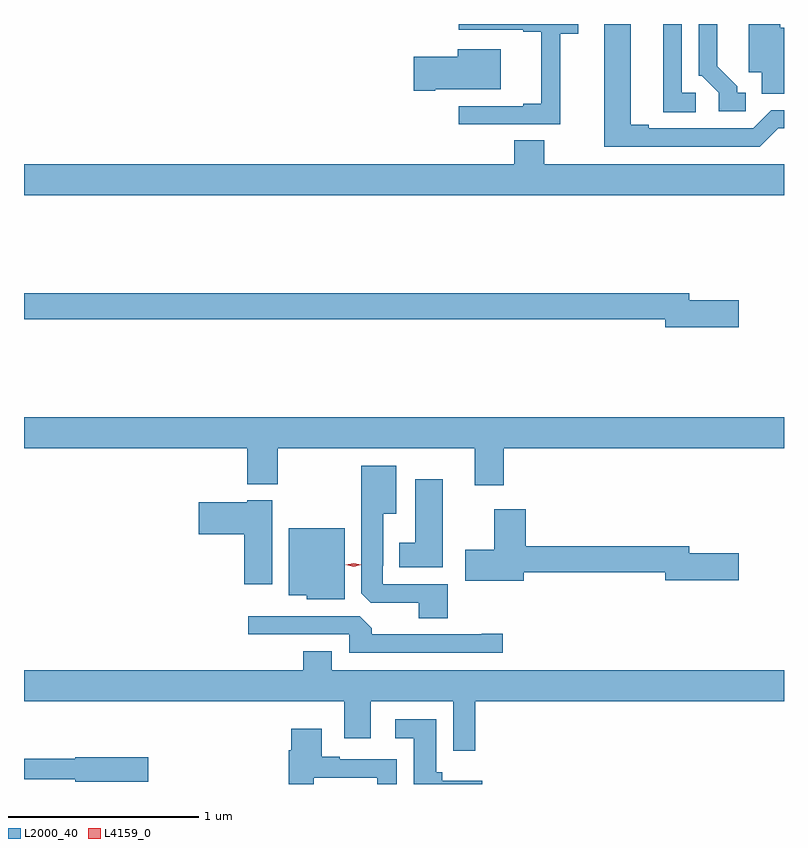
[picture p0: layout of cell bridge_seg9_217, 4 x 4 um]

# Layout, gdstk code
import gdstk
lib = gdstk.Library(unit=1e-6, precision=1e-09)
def P(c, l, *ps):  # polygons
    for p in ps: c.add(gdstk.Polygon(p, *l))
L2000_40 = (2000, 40)
L4159_0 = (4159, 0)

bridge_seg9_217 = lib.new_cell('bridge_seg9_217')
P(bridge_seg9_217, L2000_40, [(194.185,1230.258),(194.14,1230.258),(194.14,1230.293),(194.035,1230.398),(194.035,1230.621),(193.938,1230.621),(193.938,1230.348),(193.953,1230.348),(194.043,1230.258),(194.043,1230.162),(194.185,1230.162)],
  [(194.386,1230.601),(194.365,1230.601),(194.365,1230.621),(194.201,1230.621),(194.201,1230.368),(194.27,1230.368),(194.27,1230.253),(194.386,1230.253)],
  [(193.921,1230.258),(193.848,1230.258),(193.848,1230.621),(193.751,1230.621),(193.751,1230.157),(193.921,1230.157)],
  [(193.209,1230.571),(193.303,1230.571),(193.303,1230.621),(192.675,1230.621),(192.675,1230.591),(193.013,1230.591),(193.013,1230.579),(193.109,1230.579),(193.109,1230.202),(193.013,1230.202),(193.013,1230.189),(192.675,1230.189),(192.675,1230.093),(193.209,1230.093)],
  [(194.355,1230.072),(194.386,1230.072),(194.386,1230.168),(194.319,1230.168),(194.223,1230.072),(193.675,1230.072),(193.675,1230.092),(193.579,1230.092),(193.579,1230.621),(193.439,1230.621),(193.439,1229.976),(194.259,1229.976)],
  [(192.55,1230.278),(192.895,1230.278),(192.895,1230.487),(192.668,1230.487),(192.668,1230.449),(192.438,1230.449),(192.438,1230.271),(192.55,1230.271)],
  [(194.386,1229.884),(193.125,1229.884),(193.125,1230.008),(192.965,1230.008),(192.965,1229.884),(190.386,1229.884),(190.386,1229.72),(194.386,1229.72)],
  [(194.149,1229.168),(193.888,1229.168),(193.888,1229.204),(190.386,1229.204),(190.386,1229.068),(193.76,1229.068),(193.76,1229.026),(194.149,1229.026)],
  [(192.911,1228.388),(194.386,1228.388),(194.386,1228.552),(190.386,1228.552),(190.386,1228.388),(191.561,1228.388),(191.561,1228.199),(191.721,1228.199),(191.721,1228.388),(192.758,1228.388),(192.758,1228.194),(192.911,1228.194)],
  [(192.617,1227.672),(192.273,1227.672),(192.273,1227.769),(192.277,1227.769),(192.277,1228.043),(192.346,1228.043),(192.346,1228.297),(192.161,1228.297),(192.161,1227.625),(192.21,1227.576),(192.464,1227.576),(192.464,1227.493),(192.617,1227.493)],
  [(192.589,1228.225),(192.446,1228.225),(192.446,1227.892),(192.362,1227.892),(192.362,1227.761),(192.589,1227.761)],
  [(191.692,1228.114),(191.562,1228.114),(191.562,1228.105),(191.307,1228.105),(191.307,1227.935),(191.546,1227.935),(191.546,1227.672),(191.692,1227.672)],
  [(193.015,1227.736),(193.76,1227.736),(193.76,1227.694),(194.149,1227.694),(194.149,1227.836),(193.888,1227.836),(193.888,1227.872),(193.028,1227.872),(193.028,1228.066),(192.86,1228.066),(192.86,1227.855),(192.708,1227.855),(192.708,1227.692),(193.015,1227.692)],
  [(192.073,1227.967),(191.78,1227.967),(191.78,1227.614),(191.874,1227.614),(191.874,1227.593),(192.073,1227.593)],
  [(192.907,1227.413),(192.794,1227.413),(192.794,1227.408),(192.215,1227.408),(192.215,1227.442),(192.153,1227.504),(191.565,1227.504),(191.565,1227.408),(192.099,1227.408),(192.099,1227.312),(192.907,1227.312)],
  [(192.761,1227.056),(194.386,1227.056),(194.386,1227.22),(192.007,1227.22),(192.007,1227.319),(191.855,1227.319),(191.855,1227.22),(190.386,1227.22),(190.386,1227.056),(192.071,1227.056),(192.071,1226.862),(192.211,1226.862),(192.211,1227.056),(192.645,1227.056),(192.645,1226.796),(192.761,1226.796)],
  [(192.799,1226.638),(192.587,1226.638),(192.587,1226.682),(192.556,1226.682),(192.556,1226.962),(192.339,1226.962),(192.339,1226.861),(192.437,1226.861),(192.437,1226.621),(192.799,1226.621)],
  [(191.911,1226.655),(192.245,1226.655),(192.245,1226.621),(192.349,1226.621),(192.349,1226.751),(192.049,1226.751),(192.049,1226.764),(191.953,1226.764),(191.953,1226.911),(191.792,1226.911),(191.792,1226.798),(191.78,1226.798),(191.78,1226.621),(191.911,1226.621)],
  [(191.041,1226.763),(190.656,1226.763),(190.656,1226.755),(190.386,1226.755),(190.386,1226.646),(190.656,1226.646),(190.656,1226.633),(191.041,1226.633)])
P(bridge_seg9_217, L4159_0, [(192.121,1227.764),(192.08,1227.774),(192.08,1227.774),(192.08,1227.774),(192.121,1227.784),(192.162,1227.774),(192.162,1227.774),(192.162,1227.774)])

lib.write_gds('bridge_seg9_217.gds')
